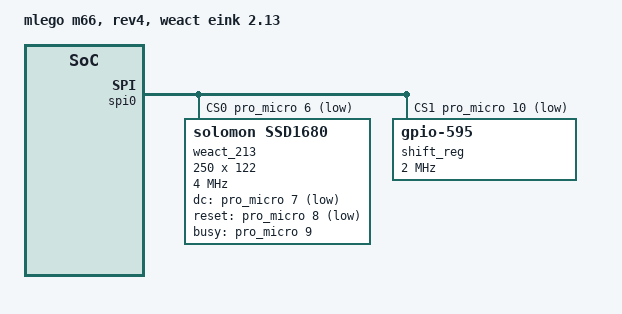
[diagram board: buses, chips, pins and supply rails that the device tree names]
/*
 * Copyright (c) 2022-2023 alin m elena
 * SPDX-License-Identifier: MIT
 */

/ {
   model = "mlego m66, rev4, weact eink 2.13";

   compatible = "mlego", "nice-nano-v2";

   chosen {
     zephyr,display = &weact_213;
   };

};

board_spi: &spi0 {
  status = "okay";
  compatible = "nordic,nrf-spim";
  pinctrl-0 = <&spi0_default>;
  pinctrl-1 = <&spi0_sleep>;
  pinctrl-names = "default", "sleep";

  cs-gpios =  <&pro_micro 6 GPIO_ACTIVE_LOW>
            , <&pro_micro 10 GPIO_ACTIVE_LOW> ;

  weact_213: ssd16xxfb@0 {
    compatible = "solomon,ssd1680";
    spi-max-frequency = <4000000>;
    reg = <0>;
    width = <250>;
    height = <122>;
    dc-gpios = <&pro_micro 7 GPIO_ACTIVE_LOW>;
    reset-gpios = <&pro_micro 8 GPIO_ACTIVE_LOW>;
    busy-gpios = <&pro_micro 9 GPIO_ACTIVE_HIGH>;

    tssv = <0x80>;

    full {
      border-waveform = <0x05>;
    };

    partial {
      border-waveform = <0x3c>;
    };
  };

  shift_reg: 595@0 {
    compatible = "zmk,gpio-595";
    status = "okay";
    gpio-controller;
    spi-max-frequency = <2000000>;
    #gpio-cells = <2>;
    reg = <1>;
    ngpios = <16>;
  };
};
